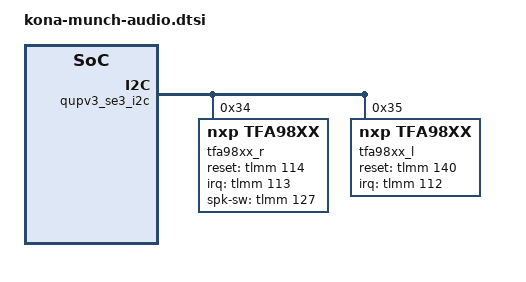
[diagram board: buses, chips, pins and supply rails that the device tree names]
// SPDX-License-Identifier: GPL-2.0
/* Copyright (c) 2022, The Linux Foundation. All rights reserved.
 *
 * This program is free software; you can redistribute it and/or modify
 * it under the terms of the GNU General Public License version 2 and
 * only version 2 as published by the Free Software Foundation.
 *
 * This program is distributed in the hope that it will be useful,
 * but WITHOUT ANY WARRANTY; without even the implied warranty of
 * MERCHANTABILITY or FITNESS FOR A PARTICULAR PURPOSE.  See the
 * GNU General Public License for more details.
 */

&dai_mi2s2 {
	qcom,msm-mi2s-rx-lines = <2>;
	qcom,msm-mi2s-tx-lines = <1>;
	pinctrl-names = "default", "sleep";
	pinctrl-0 = <&tert_mi2s_sck_active &tert_mi2s_ws_active
			&tert_mi2s_sd0_active &tert_mi2s_sd1_active>;
	pinctrl-1 = <&tert_mi2s_sck_sleep &tert_mi2s_ws_sleep
			&tert_mi2s_sd0_sleep &tert_mi2s_sd1_sleep>;
};

&kona_snd {
	qcom,msm-mbhc-usbc-workaround = <1>;
};

&qupv3_se3_i2c {
	status = "ok";

	/* TOP Speaker */
	tfa98xx_r: tfa98xx_r {
		compatible = "nxp,tfa98xx";
		reset-gpio = <&tlmm 114 0>;
		irq-gpio = <&tlmm 113 0>;
		spk-sw-gpio = <&tlmm 127 0>;
		interrupt-parent = <&tlmm>;
		interrupts = <113 0>;
		interrupt-names = "smartpa_irq";
		pinctrl-names = "default", "sleep";
		pinctrl-0 = <&smartpa_top_int_active &smartpa_enable_top_active>;
		pinctrl-1 = <&smartpa_top_int_suspend &smartpa_enable_top_suspend>;
		reg = <0x34>;
		status = "ok";
	};

    /* Botton Speaker */
	tfa98xx_l: tfa98xx_l {
		compatible = "nxp,tfa98xx";
		reset-gpio = <&tlmm 140 0>;
		irq-gpio = <&tlmm 112 0>;
		interrupt-parent = <&tlmm>;
		interrupts = <112 0>;
		interrupt-names = "smartpa_irq";
		pinctrl-names = "default", "sleep";
		pinctrl-0 = <&smartpa_bot_int_active &smartpa_enable_bot_active>;
		pinctrl-1 = <&smartpa_bot_int_suspend &smartpa_enable_bot_suspend>;
		reg = <0x35>;
		status = "ok";
	};
};
